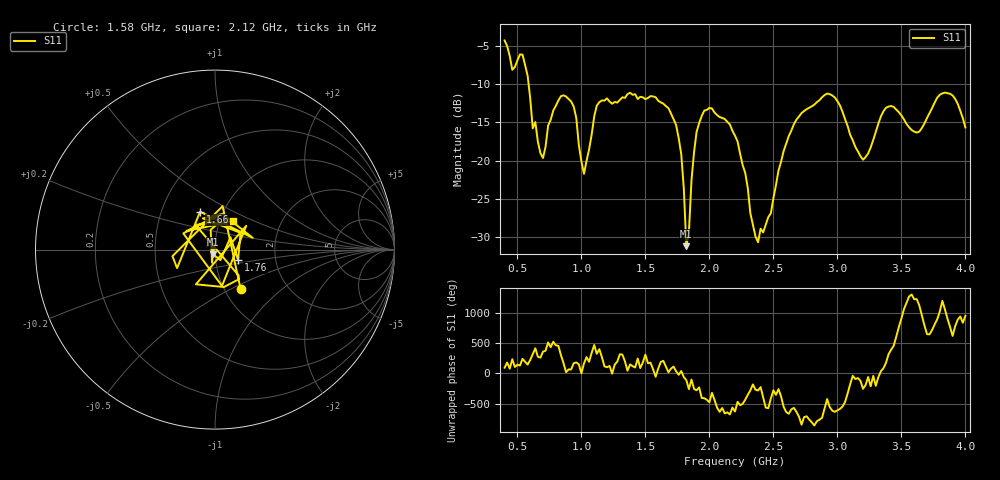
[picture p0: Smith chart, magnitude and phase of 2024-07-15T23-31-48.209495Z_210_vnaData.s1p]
!Created with skrf (http://scikit-rf.org).
# Hz S RI R 50.0
!freq ReS11 ImS11
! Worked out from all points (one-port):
!   181 points, 400 MHz to 4 GHz, reference 50 ohm
!   lowest |S11| = -31.1 dB at 1.82 GHz (marker M1), VSWR 1.06, Z = 48.8 - j2.49 ohm
!   |S11| at or under -10 dB: 587.2 MHz to end of sweep
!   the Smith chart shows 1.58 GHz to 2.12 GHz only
!   S11 on the Smith chart (normalised r, x): 1.58 GHz: 1.19, -0.55; 1.66 GHz: 0.78, +0.35; 1.76 GHz: 1.28, -0.15; 2.12 GHz: 1.15, +0.38
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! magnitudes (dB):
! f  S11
! 400 MHz  -4.3
! 460 MHz  -8.2
! 540 MHz  -6.2
! 620 MHz  -15.8
! 700 MHz  -19.6
! 860 MHz  -11.5
! 940 MHz  -13.0
! 1.02 GHz  -21.7
! 1.12 GHz  -12.8
! 1.3 GHz  -12.1
! 1.58 GHz  -11.7
! 1.66 GHz  -12.9
! 1.76 GHz  -17.0
! 1.8 GHz  -23.6
! 1.82 GHz  -31.1
! 1.88 GHz  -18.9
! 1.92 GHz  -15.1
! 2.12 GHz  -14.6
! 2.2 GHz  -16.7
! 2.38 GHz  -30.6
! 2.66 GHz  -15.3
! 2.92 GHz  -11.3
! 3.1 GHz  -16.7
! 3.2 GHz  -19.9
! 3.38 GHz  -13.1
! 3.56 GHz  -15.7
! 3.84 GHz  -11.1
! 4 GHz  -15.7
